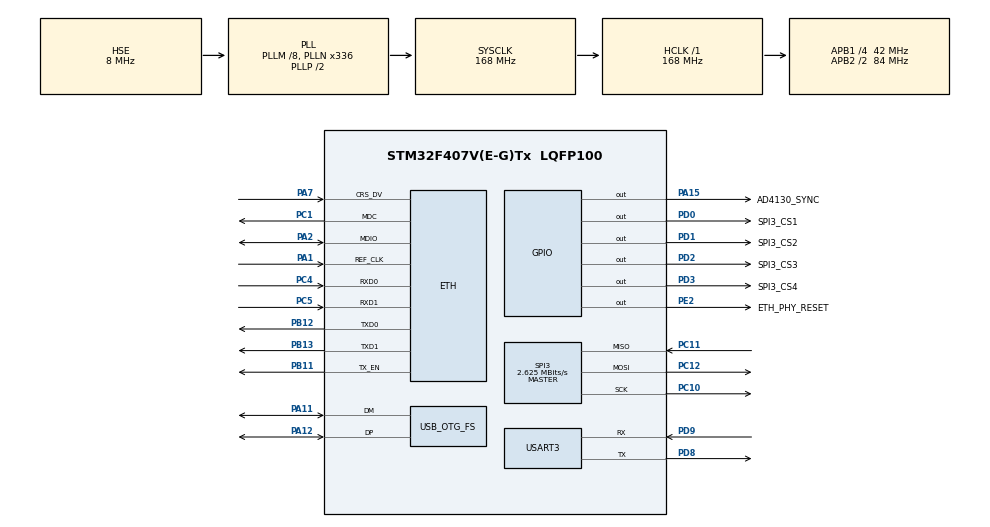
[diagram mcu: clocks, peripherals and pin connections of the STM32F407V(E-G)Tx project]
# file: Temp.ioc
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ETH.MACAddr=02\:00\:00\:00\:00\:01
ETH.MediaInterface=HAL_ETH_RMII_MODE
LWIP.BSP.number=1
LWIP.IP_ADDRESS=192.168.010.050
LWIP.LWIP_DHCP=0
LWIP.NETMASK_ADDRESS=255.255.255.000
LWIP.Version=v2.1.2_Cube
LWIP0.BSP.STBoard=false
LWIP0.BSP.api=BSP_COMPONENT_DRIVER
LWIP0.BSP.component=LAN8742
LWIP0.BSP.instance=LAN8742
LWIP0.BSP.name=Driver_PHY
LWIP0.BSP.semaphore=S_LAN8742
LWIP0.BSP.solution=LAN8742
Mcu.Family=STM32F4
Mcu.Name=STM32F407V(E-G)Tx
Mcu.Package=LQFP100
NVIC.ETH_IRQn=true\:8\:0\:true\:false\:true\:true\:true\:true
NVIC.OTG_FS_IRQn=true\:5\:0\:true\:false\:true\:false\:true\:true
NVIC.PriorityGroup=NVIC_PRIORITYGROUP_4
NVIC.TIM7_IRQn=true\:7\:0\:true\:false\:true\:true\:true\:true
NVIC.USART3_IRQn=true\:6\:0\:true\:false\:true\:true\:true\:true
PA1.Mode=RMII
PA1.Signal=ETH_REF_CLK
PA11.Mode=Device_Only
PA11.Signal=USB_OTG_FS_DM
PA12.Mode=Device_Only
PA12.Signal=USB_OTG_FS_DP
PA13.Mode=Serial_Wire
PA13.Signal=SYS_JTMS-SWDIO
PA14.Mode=Serial_Wire
PA14.Signal=SYS_JTCK-SWCLK
PA15.GPIO_Label=AD4130_SYNC
PA15.PinState=GPIO_PIN_SET
PA15.Signal=GPIO_Output
PA2.Mode=RMII
PA2.Signal=ETH_MDIO
PA7.Mode=RMII
PA7.Signal=ETH_CRS_DV
PB11.Mode=RMII
PB11.Signal=ETH_TX_EN
PB12.Mode=RMII
PB12.Signal=ETH_TXD0
PB13.Mode=RMII
PB13.Signal=ETH_TXD1
PC1.Mode=RMII
PC1.Signal=ETH_MDC
PC10.GPIO_Speed=GPIO_SPEED_FREQ_MEDIUM
PC10.Mode=Full_Duplex_Master
PC10.Signal=SPI3_SCK
PC11.GPIO_Speed=GPIO_SPEED_FREQ_MEDIUM
PC11.Mode=Full_Duplex_Master
PC11.Signal=SPI3_MISO
PC12.GPIO_Speed=GPIO_SPEED_FREQ_MEDIUM
PC12.Mode=Full_Duplex_Master
PC12.Signal=SPI3_MOSI
PC14-OSC32_IN.Mode=LSE-External-Oscillator
PC14-OSC32_IN.Signal=RCC_OSC32_IN
PC15-OSC32_OUT.Mode=LSE-External-Oscillator
PC15-OSC32_OUT.Signal=RCC_OSC32_OUT
PC4.Mode=RMII
PC4.Signal=ETH_RXD0
PC5.Mode=RMII
PC5.Signal=ETH_RXD1
PD0.GPIO_Label=SPI3_CS1
PD0.PinState=GPIO_PIN_SET
PD0.Signal=GPIO_Output
PD1.GPIO_Label=SPI3_CS2
PD1.PinState=GPIO_PIN_SET
PD1.Signal=GPIO_Output
PD2.GPIO_Label=SPI3_CS3
PD2.PinState=GPIO_PIN_SET
PD2.Signal=GPIO_Output
PD3.GPIO_Label=SPI3_CS4
PD3.PinState=GPIO_PIN_SET
PD3.Signal=GPIO_Output
PD8.GPIO_Speed=GPIO_SPEED_FREQ_LOW
PD8.Mode=Asynchronous
PD8.Signal=USART3_TX
PD9.GPIO_Speed=GPIO_SPEED_FREQ_LOW
PD9.Mode=Asynchronous
PD9.Signal=USART3_RX
PE2.GPIO_Label=ETH_PHY_RESET
PE2.Signal=GPIO_Output
PH0-OSC_IN.Mode=HSE-External-Oscillator
PH0-OSC_IN.Signal=RCC_OSC_IN
PH1-OSC_OUT.Mode=HSE-External-Oscillator
PH1-OSC_OUT.Signal=RCC_OSC_OUT
ProjectManager.HeapSize=0x200
ProjectManager.StackSize=0x400
ProjectManager.TargetToolchain=STM32CubeIDE
RCC.48MHZClocksFreq_Value=48000000
RCC.AHBFreq_Value=168000000
RCC.APB1CLKDivider=RCC_HCLK_DIV4
RCC.APB1Freq_Value=42000000
RCC.APB1TimFreq_Value=84000000
RCC.APB2CLKDivider=RCC_HCLK_DIV2
RCC.APB2Freq_Value=84000000
RCC.APB2TimFreq_Value=168000000
RCC.CortexFreq_Value=168000000
RCC.HCLKFreq_Value=168000000
RCC.HSE_VALUE=8000000
RCC.HSI_VALUE=16000000
RCC.PLLM=8
RCC.PLLN=336
RCC.PLLQ=7
RCC.SYSCLKFreq_VALUE=168000000
RCC.SYSCLKSource=RCC_SYSCLKSOURCE_PLLCLK
RCC.VCOOutputFreq_Value=336000000
SPI3.BaudRatePrescaler=SPI_BAUDRATEPRESCALER_16
SPI3.CLKPhase=SPI_PHASE_2EDGE
SPI3.CLKPolarity=SPI_POLARITY_HIGH
SPI3.CalculateBaudRate=2.625 MBits/s
SPI3.Direction=SPI_DIRECTION_2LINES
SPI3.Mode=SPI_MODE_MASTER
SPI3.VirtualType=VM_MASTER
TIM7.Period=34
TIM7.Prescaler=4199
USART3.Parity=PARITY_EVEN
USART3.VirtualMode=VM_ASYNC
USART3.WordLength=WORDLENGTH_9B
USB_DEVICE.CLASS_NAME_FS=CDC
USB_DEVICE.VirtualMode-CDC_FS=Cdc
USB_DEVICE.VirtualModeFS=Cdc_FS
USB_OTG_FS.VirtualMode=Device_Only
VP_LWIP_VS_Enabled.Mode=Enabled
VP_RTC_VS_RTC_Activate.Mode=RTC_Enabled
VP_TIM7_VS_ClockSourceINT.Mode=Enable_Timer
VP_TIM7_VS_OPM.Mode=OPM_bit
VP_USB_DEVICE_VS_USB_DEVICE_CDC_FS.Mode=CDC_FS
board=custom

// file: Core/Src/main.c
/* USER CODE BEGIN Header */
/**
  ******************************************************************************
  * @file           : main.c
  * @brief          : Main program body
  ******************************************************************************
  * @attention
  *
  * Copyright (c) 2026 STMicroelectronics.
  * All rights reserved.
  *
  * This software is licensed under terms that can be found in the LICENSE file
  * in the root directory of this software component.
  * If no LICENSE file comes with this software, it is provided AS-IS.
  *
  ******************************************************************************
  */
/* USER CODE END Header */
#include "main.h"
#include "rtc.h"
#include "spi.h"
#include "tim.h"
#include "usart.h"
#include "usb_device.h"
#include "gpio.h"

/* USER CODE BEGIN Includes */
#include "common/error_code.h"
#include "common/ad4130_config_file.h"
#include "application/sensor_adc.h"
#include "application/sensor_coeffs.h"
#include "application/sensor_read.h"
#include "application/usb_comm.h"
#include "application/communication_select.h"
#include "communication/modbus/modbus_registers.h"
/* USER CODE END Includes */

/* USER CODE BEGIN PV */

static uint8_t usb_communication_initialized;
static uint8_t industrial_communication_initialized;

/* USER CODE END PV */

void SystemClock_Config(void);

int main(void)
{

  /* MCU Configuration--------------------------------------------------------*/

  /* Reset of all peripherals, Initializes the Flash interface and the Systick. */
  HAL_Init();

  /* Configure the system clock */
  SystemClock_Config();

  /* Initialize all configured peripherals */
  MX_GPIO_Init();
  MX_USB_DEVICE_Init();
  MX_SPI3_Init();
  MX_USART3_UART_Init();
  MX_RTC_Init();
  MX_TIM7_Init();
  /* USER CODE BEGIN 2 */

	ErrorCode_t adc_result;
	ErrorCode_t coeffs_result;
	ErrorCode_t communication_result;
	ErrorCode_t read_result;

	/* USB communication initialize */
	HAL_Delay(2000);
	usb_communication_initialized = 1U;
	printf("initialized - USB CDC\r\n");
	(void) usb_comm_process();

	/* sensor_adc: ADC initialize */
	adc_result = sensor_adc_initialize();
	(void) usb_comm_process();
	if (adc_result != ERROR_CODE_NONE)
	{
		Error_Handler();
	}

	/* sensor_coeffs: load, decode */
	coeffs_result = sensor_coeffs_initialize();
	(void) usb_comm_process();
	if (
			(coeffs_result != ERROR_CODE_NONE)
			&& (coeffs_result != ERROR_CODE_COEFFS_DECODE_ILLEGAL_FORMAT)
			&& (coeffs_result != ERROR_CODE_COEFFS_DECODE_ILLEGAL_VERSION)
			&& (coeffs_result != ERROR_CODE_COEFFS_DECODE_CRC)
	)
	{
		Error_Handler();
	}

	/* industrial communication initialize */
	communication_result = communication_select_initialize();
	(void) usb_comm_process();
	if (communication_result != ERROR_CODE_NONE)
	{
		Error_Handler();
	}
	industrial_communication_initialized = 1U;

  /* USER CODE END 2 */

  /* Infinite loop */
	while (1)
	{

    /* USER CODE BEGIN 3 */

		/* sensor_read: ADC read */
		read_result = read_sensor();
		if (
				(read_result != ERROR_CODE_NONE)
				&& (read_result != ERROR_CODE_MEASUREMENT_NOT_READY)
		)
		{
			Error_Handler();
		}

		/* industrial communication process */
		communication_result = communication_select_process();
		if (communication_result != ERROR_CODE_NONE)
		{
			Error_Handler();
		}

		/* USB communication process */
		(void) usb_comm_process();
	}

  /* USER CODE END 3 */
}

void SystemClock_Config(void)
{
  RCC_OscInitTypeDef RCC_OscInitStruct = {0};
  RCC_ClkInitTypeDef RCC_ClkInitStruct = {0};

  /** Configure the main internal regulator output voltage
  */
  __HAL_RCC_PWR_CLK_ENABLE();
  __HAL_PWR_VOLTAGESCALING_CONFIG(PWR_REGULATOR_VOLTAGE_SCALE1);

  /** Initializes the RCC Oscillators according to the specified parameters
  * in the RCC_OscInitTypeDef structure.
  */
  RCC_OscInitStruct.OscillatorType = RCC_OSCILLATORTYPE_LSI|RCC_OSCILLATORTYPE_HSE;
  RCC_OscInitStruct.HSEState = RCC_HSE_ON;
  RCC_OscInitStruct.LSIState = RCC_LSI_ON;
  RCC_OscInitStruct.PLL.PLLState = RCC_PLL_ON;
  RCC_OscInitStruct.PLL.PLLSource = RCC_PLLSOURCE_HSE;
  RCC_OscInitStruct.PLL.PLLM = 8;
  RCC_OscInitStruct.PLL.PLLN = 336;
  RCC_OscInitStruct.PLL.PLLP = RCC_PLLP_DIV2;
  RCC_OscInitStruct.PLL.PLLQ = 7;
  if (HAL_RCC_OscConfig(&RCC_OscInitStruct) != HAL_OK)
  {
    Error_Handler();
  }

  /** Initializes the CPU, AHB and APB buses clocks
  */
  RCC_ClkInitStruct.ClockType = RCC_CLOCKTYPE_HCLK|RCC_CLOCKTYPE_SYSCLK
                              |RCC_CLOCKTYPE_PCLK1|RCC_CLOCKTYPE_PCLK2;
  RCC_ClkInitStruct.SYSCLKSource = RCC_SYSCLKSOURCE_PLLCLK;
  RCC_ClkInitStruct.AHBCLKDivider = RCC_SYSCLK_DIV1;
  RCC_ClkInitStruct.APB1CLKDivider = RCC_HCLK_DIV4;
  RCC_ClkInitStruct.APB2CLKDivider = RCC_HCLK_DIV2;

  if (HAL_RCC_ClockConfig(&RCC_ClkInitStruct, FLASH_LATENCY_5) != HAL_OK)
  {
    Error_Handler();
  }
}

void Error_Handler(void)
{
  /* USER CODE BEGIN Error_Handler_Debug */
  /* User can add his own implementation to report the HAL error return state */
  /* __disable_irq(); */

	printf("%d: fatal system error\r\n", (int) ERROR_CODE_SYSTEM_FATAL);
	for (uint8_t adc_index = 0U; adc_index < AD4130_DEVICE_COUNT; adc_index++)
	{
		vMBRegInputSetADCError(adc_index);
	}

  while (1)
  {
		if (usb_communication_initialized != 0U)
		{
			(void) usb_comm_process();
		}

		if (industrial_communication_initialized != 0U)
		{
			(void) communication_select_process();
		}
  }
  /* USER CODE END Error_Handler_Debug */
}
#ifdef USE_FULL_ASSERT
/**
  * @brief  Reports the name of the source file and the source line number
  *         where the assert_param error has occurred.
  * @param  file: pointer to the source file name
  * @param  line: assert_param error line source number
  * @retval None
  */
void assert_failed(uint8_t *file, uint32_t line)
{
  /* USER CODE BEGIN 6 */
  /* User can add his own implementation to report the file name and line number,
     ex: printf("Wrong parameters value: file %s on line %d\r\n", file, line) */
	printf(
		"Wrong parameters value: file %s on line %lu\r\n",
		(char *) file, (unsigned long int) line
	);
  /* USER CODE END 6 */
}
#endif /* USE_FULL_ASSERT */
